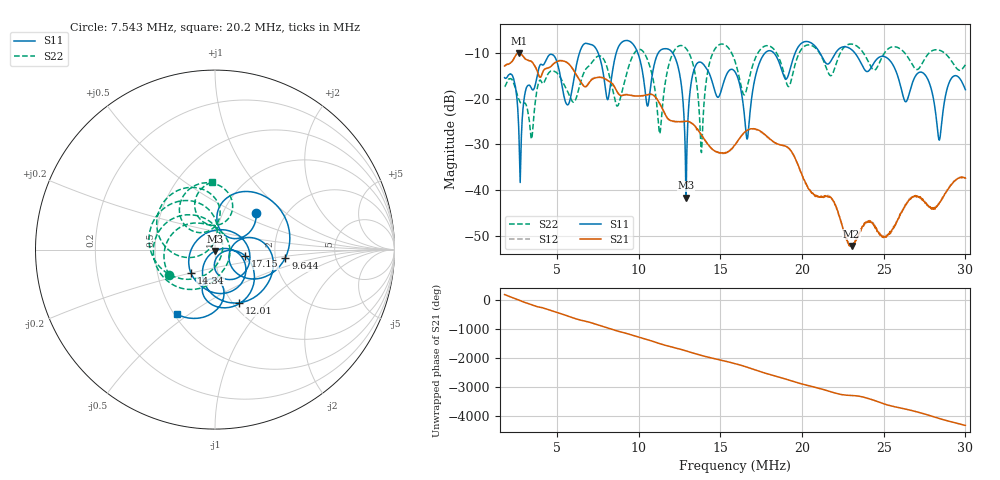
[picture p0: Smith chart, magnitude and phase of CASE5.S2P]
!Agilent Technologies,E5061B,MY49101568,A.02.00
!Date: Wed Mar 01 12:23:34 2023
!Data & Calibration Information:
!Freq	S11:SOLT2(OFF)	S21:SOLT2(OFF)	S12:SOLT2(OFF)	S22:SOLT2(OFF)
# Hz S dB R 50
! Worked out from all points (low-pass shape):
!   1155 points, 1.8 MHz to 30 MHz, reference 50 ohm
!   highest |S21| = -10.06 dB at 2.68 MHz (marker M1); lowest = -52.1 dB at 23.04 MHz (marker M2)
!   |S21| within 3 dB of the highest: start of sweep to 3.675 MHz; 4.616 MHz to 5.875 MHz (1.259 MHz wide, 24 % of centre)
!   lowest |S11| = -41.6 dB at 12.89 MHz (marker M3), VSWR 1.02, Z = 49.9 - j0.824 ohm
!   |S11| at or under -10 dB: start of sweep to 6.387 MHz; 12.07 MHz to 17.76 MHz (5.69 MHz wide, 38.1 % of centre); 23.22 MHz to end of sweep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
!   |S22| runs from -31.8 to -8.1 dB; largest |S21 - S12| = 0.004
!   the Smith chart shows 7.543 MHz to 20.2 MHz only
!   S11 on the Smith chart (normalised r, x): 7.543 MHz: 1.42, +0.65; 9.644 MHz: 2.27, -0.24; 12.01 MHz: 1.07, -0.71; 14.34 MHz: 0.74, -0.20; 17.15 MHz: 1.40, -0.10; 20.2 MHz: 0.52, -0.45
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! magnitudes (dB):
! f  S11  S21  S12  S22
! 1.8 MHz  -15.5  -12.9  -12.9  -17.4
! 2.68 MHz  -28.2  -10.1  -10.1  -20.2
! 6.516 MHz  -8.8  -16.7  -16.6  -15.7
! 7.543 MHz  -10.2  -15.4  -15.3  -10.7
! 8.105 MHz  -20.3  -16.1  -16.1  -13.6
! 8.691 MHz  -9.4  -18.6  -18.5  -21.6
! 9.644 MHz  -8.1  -19.4  -19.4  -10.7
! 10.55 MHz  -21.7  -19.2  -19.2  -11.6
! 11.21 MHz  -10.0  -20.6  -20.6  -25.2
! 12.01 MHz  -9.7  -24.8  -24.9  -10.8
! 12.89 MHz  -41.6  -24.9  -25.0  -9.0
! 13.82 MHz  -12.1  -27.8  -27.8  -31.3
! 14.34 MHz  -14.6  -30.4  -30.4  -12.3
! 15.9 MHz  -14.2  -30.1  -30.1  -11.9
! 16.63 MHz  -28.8  -26.9  -26.9  -17.7
! 17.15 MHz  -15.2  -26.6  -26.7  -11.2
! 20.2 MHz  -7.6  -38.3  -38.3  -8.5
! 20.62 MHz  -8.0  -40.6  -40.6  -8.5
! 23.04 MHz  -9.3  -52.1  -51.8  -8.1
! 25.31 MHz  -11.4  -49.5  -49.4  -9.1
! 28.39 MHz  -29.0  -42.8  -43.0  -9.4
! 30 MHz  -18.1  -37.3  -37.3  -12.6
